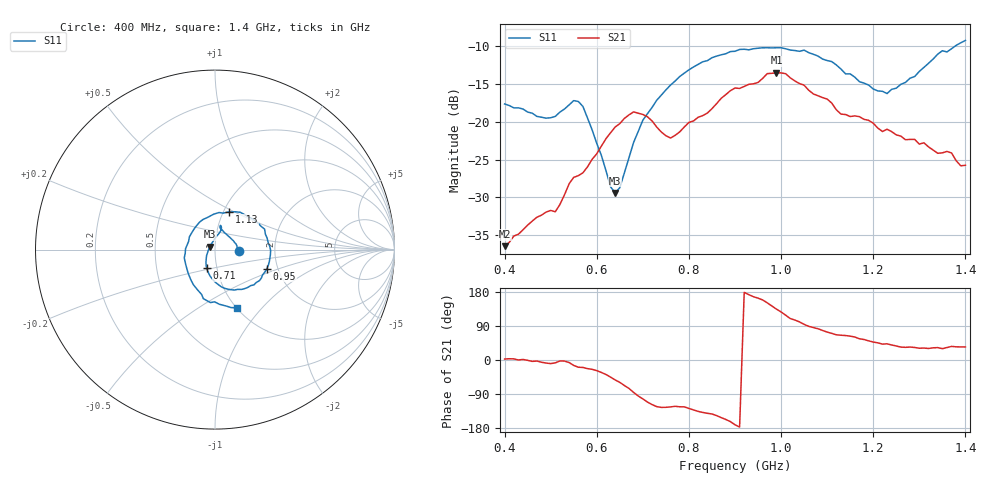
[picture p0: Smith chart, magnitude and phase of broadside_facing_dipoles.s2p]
# HZ S RI R 50
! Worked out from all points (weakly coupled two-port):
!   101 points, 400 MHz to 1.4 GHz, reference 50 ohm
!   highest |S21| = -13.50 dB at 990 MHz (marker M1); lowest = -36.5 dB at 400 MHz (marker M2)
!   lowest |S11| = -29.4 dB at 640 MHz (marker M3), VSWR 1.07, Z = 47.1 + j1.47 ohm
!   |S11| at or under -10 dB: start of sweep to 1.377 GHz
!   S12 and S22 are empty: the file has one direction only
!   S11 on the Smith chart (normalised r, x): 400 MHz: 1.30, -0.02; 710 MHz: 0.89, -0.19; 950 MHz: 1.75, -0.41; 1.13 GHz: 1.06, +0.47; 1.4 GHz: 1.00, -0.74
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4e8  0.1311 -0.00879  0.015 0.000652  0 0  0 0
4.7e8  0.0908 0.0598  0.0233 -0.0011  0 0  0 0
5.1e8  0.0519 0.0955  0.0251 -0.00332  0 0  0 0
5.5e8  0.0298 0.135  0.0415 -0.0105  0 0  0 0
5.7e8  0.0363 0.1211  0.0432 -0.0155  0 0  0 0
6.3e8  -0.0215 0.0302  0.0596 -0.0602  0 0  0 0
6.4e8  -0.03 0.0156  0.0561 -0.0735  0 0  0 0
6.5e8  -0.0365 -0.00268  0.05 -0.0834  0 0  0 0
6.8e8  -0.0492 -0.0541  0.00897 -0.1161  0 0  0 0
7.1e8  -0.0462 -0.1033  -0.0387 -0.1009  0 0  0 0
7.4e8  -0.027 -0.1479  -0.0493 -0.0701  0 0  0 0
7.7e8  0.00731 -0.1863  -0.0433 -0.0688  0 0  0 0
9e8  0.2291 -0.1838  -0.1657 -0.0262  0 0  0 0
9.5e8  0.2891 -0.1059  -0.1747 0.0527  0 0  0 0
9.9e8  0.3084 -0.0309  -0.1474 0.1516  0 0  0 0
1.07e9  0.2364 0.1512  0.0118 0.1528  0 0  0 0
1.13e9  0.0777 0.21  0.0469 0.1024  0 0  0 0
1.19e9  -0.0866 0.1526  0.065 0.079  0 0  0 0
1.24e9  -0.1642 0.00452  0.0663 0.0549  0 0  0 0
1.31e9  -0.1203 -0.1957  0.0619 0.038  0 0  0 0
1.35e9  -0.0253 -0.2952  0.054 0.031  0 0  0 0
1.4e9  0.1209 -0.3248  0.0425 0.0291  0 0  0 0
